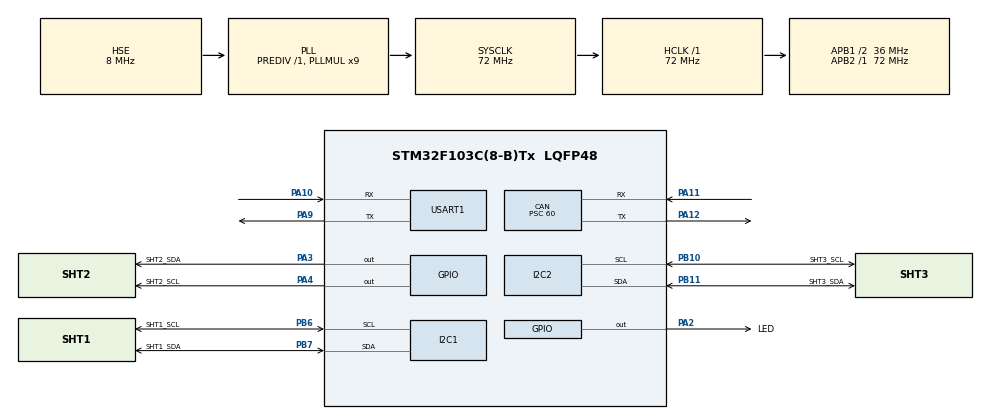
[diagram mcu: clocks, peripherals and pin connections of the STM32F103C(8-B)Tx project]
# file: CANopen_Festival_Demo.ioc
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CAN.BS1=CAN_BS1_3TQ
CAN.BS2=CAN_BS2_2TQ
CAN.CalculateBaudRate=100000
CAN.CalculateTimeBit=10000
CAN.CalculateTimeQuantum=1666.6666666666667
CAN.Prescaler=60
CAN.SJW=CAN_SJW_2TQ
FREERTOS.HEAP_NUMBER=4
FREERTOS.MEMORY_ALLOCATION=2
FREERTOS.Queues01=xCANRcvQueue,10,CanRxMsg,0,Dynamic,NULL,NULL;xCANSenQueue,10,CanTxMsg,0,Dynamic,NULL,NULL
FREERTOS.Tasks01=CanSen_Task,24,128,Task_CanSen,Default,NULL,Dynamic,NULL,NULL;CanRev_Task,24,128,Task_CanRev,Default,NULL,Dynamic,NULL,NULL;CANOpen_Task,24,128,Task_CANOpen,Default,NULL,Dynamic,NULL,NULL
FREERTOS.configMINIMAL_STACK_SIZE=64
FREERTOS.configTOTAL_HEAP_SIZE=4096
FREERTOS.configUSE_NEWLIB_REENTRANT=0
Mcu.Family=STM32F1
Mcu.Name=STM32F103C(8-B)Tx
Mcu.Package=LQFP48
NVIC.PriorityGroup=NVIC_PRIORITYGROUP_4
NVIC.TIM1_UP_IRQn=true\:15\:0\:true\:false\:true\:false\:false\:true\:true
NVIC.TIM3_IRQn=true\:5\:0\:true\:false\:true\:true\:true\:true\:true
NVIC.TimeBase=TIM1_UP_IRQn
NVIC.TimeBaseIP=TIM1
NVIC.USB_LP_CAN1_RX0_IRQn=true\:5\:0\:true\:false\:true\:true\:true\:true\:true
PA10.Mode=Asynchronous
PA10.Signal=USART1_RX
PA11.Mode=CAN_Activate
PA11.Signal=CAN_RX
PA12.Mode=CAN_Activate
PA12.Signal=CAN_TX
PA13.Mode=Serial_Wire
PA13.Signal=SYS_JTMS-SWDIO
PA14.Mode=Serial_Wire
PA14.Signal=SYS_JTCK-SWCLK
PA2.GPIO_Label=LED
PA2.GPIO_PuPd=GPIO_PULLDOWN
PA2.Signal=GPIO_Output
PA3.GPIO_Label=SHT2_SDA
PA3.GPIO_ModeDefaultOutputPP=GPIO_MODE_OUTPUT_OD
PA3.GPIO_PuPd=GPIO_NOPULL
PA3.GPIO_Speed=GPIO_SPEED_FREQ_HIGH
PA3.Signal=GPIO_Output
PA4.GPIO_Label=SHT2_SCL
PA4.GPIO_ModeDefaultOutputPP=GPIO_MODE_OUTPUT_OD
PA4.GPIO_PuPd=GPIO_NOPULL
PA4.GPIO_Speed=GPIO_SPEED_FREQ_HIGH
PA4.PinState=GPIO_PIN_RESET
PA4.Signal=GPIO_Output
PA9.Mode=Asynchronous
PA9.Signal=USART1_TX
PB10.GPIO_Label=SHT3_SCL
PB10.Mode=I2C
PB10.Signal=I2C2_SCL
PB11.GPIO_Label=SHT3_SDA
PB11.Mode=I2C
PB11.Signal=I2C2_SDA
PB6.GPIO_Label=SHT1_SCL
PB6.Mode=I2C
PB6.Signal=I2C1_SCL
PB7.GPIO_Label=SHT1_SDA
PB7.Mode=I2C
PB7.Signal=I2C1_SDA
PD0-OSC_IN.Mode=HSE-External-Oscillator
PD0-OSC_IN.Signal=RCC_OSC_IN
PD1-OSC_OUT.Mode=HSE-External-Oscillator
PD1-OSC_OUT.Signal=RCC_OSC_OUT
ProjectManager.HeapSize=0x200
ProjectManager.StackSize=0x400
ProjectManager.TargetToolchain=MDK-ARM V5.32
RCC.AHBFreq_Value=72000000
RCC.APB1CLKDivider=RCC_HCLK_DIV2
RCC.APB1Freq_Value=36000000
RCC.APB1TimFreq_Value=72000000
RCC.APB2Freq_Value=72000000
RCC.APB2TimFreq_Value=72000000
RCC.HCLKFreq_Value=72000000
RCC.PLLMUL=RCC_PLL_MUL9
RCC.PLLSourceVirtual=RCC_PLLSOURCE_HSE
RCC.SYSCLKFreq_VALUE=72000000
RCC.SYSCLKSource=RCC_SYSCLKSOURCE_PLLCLK
RCC.USBFreq_Value=72000000
TIM2.AutoReloadPreload=TIM_AUTORELOAD_PRELOAD_ENABLE
TIM2.Prescaler=72-1
TIM3.AutoReloadPreload=TIM_AUTORELOAD_PRELOAD_ENABLE
TIM3.Prescaler=720-1
USART1.VirtualMode=VM_ASYNC
VP_FREERTOS_VS_CMSIS_V2.Mode=CMSIS_V2
VP_SYS_VS_tim1.Mode=TIM1
VP_TIM2_VS_ClockSourceINT.Mode=Internal
VP_TIM3_VS_ClockSourceINT.Mode=Internal
board=custom

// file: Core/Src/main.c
/* USER CODE BEGIN Header */
/**
  ******************************************************************************
  * @file           : main.c
  * @brief          : Main program body
  ******************************************************************************
  * @attention
  *
  * Copyright (c) 2023 STMicroelectronics.
  * All rights reserved.
  *
  * This software is licensed under terms that can be found in the LICENSE file
  * in the root directory of this software component.
  * If no LICENSE file comes with this software, it is provided AS-IS.
  *
  ******************************************************************************
  */
/* USER CODE END Header */
#include "main.h"
#include "cmsis_os.h"
#include "can.h"
#include "i2c.h"
#include "tim.h"
#include "usart.h"
#include "gpio.h"

void SystemClock_Config(void);
void MX_FREERTOS_Init(void);

int main(void)
{

  /* MCU Configuration--------------------------------------------------------*/

  /* Reset of all peripherals, Initializes the Flash interface and the Systick. */
  HAL_Init();

  /* Configure the system clock */
  SystemClock_Config();

  /* Initialize all configured peripherals */
  MX_GPIO_Init();
  MX_CAN_Init();
  MX_USART1_UART_Init();
  MX_TIM3_Init();
  MX_I2C1_Init();
  MX_I2C2_Init();
  MX_TIM2_Init();
  /* USER CODE BEGIN 2 */
	iic_init();
  /* USER CODE END 2 */

  /* Init scheduler */
  osKernelInitialize();  /* Call init function for freertos objects (in freertos.c) */
  MX_FREERTOS_Init();

  /* Start scheduler */
  osKernelStart();
  /* We should never get here as control is now taken by the scheduler */
  /* Infinite loop */
  while (1)
  {

  }
}

void SystemClock_Config(void)
{
  RCC_OscInitTypeDef RCC_OscInitStruct = {0};
  RCC_ClkInitTypeDef RCC_ClkInitStruct = {0};

  /** Initializes the RCC Oscillators according to the specified parameters
  * in the RCC_OscInitTypeDef structure.
  */
  RCC_OscInitStruct.OscillatorType = RCC_OSCILLATORTYPE_HSE;
  RCC_OscInitStruct.HSEState = RCC_HSE_ON;
  RCC_OscInitStruct.HSEPredivValue = RCC_HSE_PREDIV_DIV1;
  RCC_OscInitStruct.HSIState = RCC_HSI_ON;
  RCC_OscInitStruct.PLL.PLLState = RCC_PLL_ON;
  RCC_OscInitStruct.PLL.PLLSource = RCC_PLLSOURCE_HSE;
  RCC_OscInitStruct.PLL.PLLMUL = RCC_PLL_MUL9;
  if (HAL_RCC_OscConfig(&RCC_OscInitStruct) != HAL_OK)
  {
    Error_Handler();
  }

  /** Initializes the CPU, AHB and APB buses clocks
  */
  RCC_ClkInitStruct.ClockType = RCC_CLOCKTYPE_HCLK|RCC_CLOCKTYPE_SYSCLK
                              |RCC_CLOCKTYPE_PCLK1|RCC_CLOCKTYPE_PCLK2;
  RCC_ClkInitStruct.SYSCLKSource = RCC_SYSCLKSOURCE_PLLCLK;
  RCC_ClkInitStruct.AHBCLKDivider = RCC_SYSCLK_DIV1;
  RCC_ClkInitStruct.APB1CLKDivider = RCC_HCLK_DIV2;
  RCC_ClkInitStruct.APB2CLKDivider = RCC_HCLK_DIV1;

  if (HAL_RCC_ClockConfig(&RCC_ClkInitStruct, FLASH_LATENCY_2) != HAL_OK)
  {
    Error_Handler();
  }
}

void HAL_TIM_PeriodElapsedCallback(TIM_HandleTypeDef *htim)
{
  if (htim->Instance == TIM1) {
    HAL_IncTick();
  }
  /* USER CODE BEGIN Callback 1 */
	if (htim->Instance == TIM3) {
		TIMx_DispatchFromISR();
	}
  /* USER CODE END Callback 1 */
}

void Error_Handler(void)
{
  __disable_irq();
  while (1)
  {
  }
}

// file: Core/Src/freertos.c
/* USER CODE BEGIN Header */
/**
  ******************************************************************************
  * File Name          : freertos.c
  * Description        : Code for freertos applications
  ******************************************************************************
  * @attention
  *
  * Copyright (c) 2023 STMicroelectronics.
  * All rights reserved.
  *
  * This software is licensed under terms that can be found in the LICENSE file
  * in the root directory of this software component.
  * If no LICENSE file comes with this software, it is provided AS-IS.
  *
  ******************************************************************************
  */
/* USER CODE END Header */

#include "FreeRTOS.h"
#include "task.h"
#include "main.h"
#include "cmsis_os.h"

/* USER CODE BEGIN Includes */
#include "queue.h"
#include "objacces.h"
/* USER CODE END Includes */

/* USER CODE BEGIN Variables */

static TIMEVAL last_counter_val = 0;
static TIMEVAL elapsed_time = 0;

/* USER CODE END Variables */
/* Definitions for CanSen_Task */
osThreadId_t CanSen_TaskHandle;
const osThreadAttr_t CanSen_Task_attributes = {
  .name = "CanSen_Task",
  .stack_size = 128 * 4,
  .priority = (osPriority_t) osPriorityNormal,
};
/* Definitions for CanRev_Task */
osThreadId_t CanRev_TaskHandle;
const osThreadAttr_t CanRev_Task_attributes = {
  .name = "CanRev_Task",
  .stack_size = 128 * 4,
  .priority = (osPriority_t) osPriorityNormal,
};
/* Definitions for CANOpen_Task */
osThreadId_t CANOpen_TaskHandle;
const osThreadAttr_t CANOpen_Task_attributes = {
  .name = "CANOpen_Task",
  .stack_size = 128 * 4,
  .priority = (osPriority_t) osPriorityNormal,
};
/* Definitions for xCANRcvQueue */
osMessageQueueId_t xCANRcvQueueHandle;
const osMessageQueueAttr_t xCANRcvQueue_attributes = {
  .name = "xCANRcvQueue"
};
/* Definitions for xCANSenQueue */
osMessageQueueId_t xCANSenQueueHandle;
const osMessageQueueAttr_t xCANSenQueue_attributes = {
  .name = "xCANSenQueue"
};

void Task_CanSen(void *argument);
void Task_CanRev(void *argument);
void Task_CANOpen(void *argument);

void MX_FREERTOS_Init(void); /* (MISRA C 2004 rule 8.1) */

void MX_FREERTOS_Init(void) {

  /* Create the queue(s) */
  /* creation of xCANRcvQueue */
  xCANRcvQueueHandle = osMessageQueueNew (10, sizeof(CanRxMsg), &xCANRcvQueue_attributes);

  /* creation of xCANSenQueue */
  xCANSenQueueHandle = osMessageQueueNew (10, sizeof(CanTxMsg), &xCANSenQueue_attributes);

  /* Create the thread(s) */
  /* creation of CanSen_Task */
  CanSen_TaskHandle = osThreadNew(Task_CanSen, NULL, &CanSen_Task_attributes);

  /* creation of CanRev_Task */
  CanRev_TaskHandle = osThreadNew(Task_CanRev, NULL, &CanRev_Task_attributes);

  /* creation of CANOpen_Task */
  CANOpen_TaskHandle = osThreadNew(Task_CANOpen, NULL, &CANOpen_Task_attributes);

}

void Task_CanSen(void *argument)
{
  /* USER CODE BEGIN Task_CanSen */

	static CanTxMsg TxMsg;
	static uint32_t TxMailbox = CAN_TX_MAILBOX0;

  /* Infinite loop */
  for(;;)
  {
    osDelay(1);
		if (xQueueReceive(xCANSenQueueHandle, &TxMsg, 100) == pdTRUE) {
			HAL_CAN_AddTxMessage(&CANx, &TxMsg.header, TxMsg.Data, &TxMailbox);
			while (HAL_CAN_GetTxMailboxesFreeLevel(&CANx) != 3);
		}
  }
  /* USER CODE END Task_CanSen */
}

void Task_CanRev(void *argument)
{
  /* USER CODE BEGIN Task_CanRev */

	static CanRxMsg RxMsg;
	static Message msg;

  /* Infinite loop */
  for(;;)
  {
    osDelay(1);
		if (xQueueReceive(xCANRcvQueueHandle, &RxMsg, 100) == pdTRUE) {
			msg.cob_id = RxMsg.header.StdId;

			if(CAN_RTR_REMOTE == RxMsg.header.RTR) {
				msg.rtr = 1;
			}
			else {
				msg.rtr = 0;
			}
			msg.len = (UNS8)RxMsg.header.DLC;
			memcpy(msg.data, RxMsg.Data, 8);
			canDispatch(&CANOPEN_NODE, &msg);
//			canSend(&CANx, &msg);
		}
  }
  /* USER CODE END Task_CanRev */
}

void Task_CANOpen(void *argument)
{
  /* USER CODE BEGIN Task_CANOpen */

	HAL_TIM_Base_Start_IT(&CANOPEN_TIMx);

	UNS8 Transmission_Type;
	UNS16 Producer_Heartbeat_Time;

	UNS32 size_U8 = sizeof(UNS8);
	UNS32 size_U16 = sizeof(UNS16);

	Transmission_Type = CANOPEN_TPDO_TIME;
	Producer_Heartbeat_Time = CANOPEN_HBT;

	writeLocalDict(&CANOPEN_NODE, (UNS16)0x1800, (UNS8)2, &Transmission_Type, &size_U8, 1);
	writeLocalDict(&CANOPEN_NODE, (UNS16)0x1017, (UNS8)0, &Producer_Heartbeat_Time, &size_U16, 1);

	setNodeId(&CANOPEN_NODE, CANOPEN_NODE_ID);

	setState(&CANOPEN_NODE, Initialisation);

//	setState(&CANOPEN_NODE, Operational);

  /* Infinite loop */
  for(;;)
  {

		switch(getState(&CANOPEN_NODE))
		{
			case Pre_operational: {
				HAL_GPIO_TogglePin(LED_GPIO_Port, LED_Pin);
				osDelay(100);
				break;
			}
			case Operational: {
				AvgData_Temperature = SHTx_read_T_avg();
				AvgData_Humidity = SHTx_read_HM_avg();
				HAL_GPIO_TogglePin(LED_GPIO_Port, LED_Pin);
				osDelay(CANOPEN_HBT);
				break;
			}
			case Stopped: {
				HAL_GPIO_WritePin(LED_GPIO_Port, LED_Pin, GPIO_PIN_SET);
				break;
			}
			default: {
				HAL_GPIO_TogglePin(LED_GPIO_Port, LED_Pin);
				osDelay(10);
			}
		}

  }
  /* USER CODE END Task_CANOpen */
}

/* USER CODE BEGIN Application */
unsigned char canSend(CAN_PORT notused, Message *m)
{
  static CanTxMsg TxMsg;
  portBASE_TYPE xHigherPriorityTaskWoken = pdFALSE;

  TxMsg.header.StdId = m->cob_id;

  if(m->rtr)
      TxMsg.header.RTR = CAN_RTR_REMOTE;
  else
      TxMsg.header.RTR = CAN_RTR_DATA;

  TxMsg.header.IDE = CAN_ID_STD;
  TxMsg.header.DLC = m->len;

  memcpy(TxMsg.Data, m->data, 8);

  if(0 == __get_CONTROL())
  {
    if(xQueueSendFromISR(xCANSenQueueHandle, &TxMsg, &xHigherPriorityTaskWoken) != pdPASS)
    {
      return 0xFF;
    }
    portEND_SWITCHING_ISR(xHigherPriorityTaskWoken);
  }
  else
  {
    if(xQueueSend(xCANSenQueueHandle, &TxMsg, 100) != pdPASS)
    {
      return 0xFF;
    }
  }
  return 0;
}

void setTimer(TIMEVAL value)
{
	__HAL_TIM_SetAutoreload(&CANOPEN_TIMx, value);
}

TIMEVAL getElapsedTime(void)
{
	uint32_t timer = __HAL_TIM_GET_COUNTER(&CANOPEN_TIMx);

	if(timer < last_counter_val)
	timer += CANOPEN_TIM_PERIOD;

	TIMEVAL elapsed = timer - last_counter_val + elapsed_time;

	return elapsed;
}

void TIMx_DispatchFromISR(void)
{
	last_counter_val = 0;
	elapsed_time = 0;
	TimeDispatch();
}

void HAL_CAN_RxFifo0MsgPendingCallback(CAN_HandleTypeDef *CANx)
{
		static CanRxMsg RxMsg;
	if (HAL_CAN_GetRxMessage(CANx, CAN_RX_FIFO0, &RxMsg.header, RxMsg.Data) != HAL_OK)
	{
		Error_Handler();
	}
	if (HAL_CAN_ActivateNotification(CANx, CAN_IT_RX_FIFO0_MSG_PENDING) != HAL_OK)
	{
	/* Notification Error */
		Error_Handler();
	}

	static portBASE_TYPE xHigherPriorityTaskWoken = pdFALSE;

	if(NULL != xCANRcvQueueHandle)
	{
		xQueueSendFromISR(xCANRcvQueueHandle, &RxMsg, &xHigherPriorityTaskWoken);
		portEND_SWITCHING_ISR(xHigherPriorityTaskWoken);
	}

}

/* USER CODE END Application */
